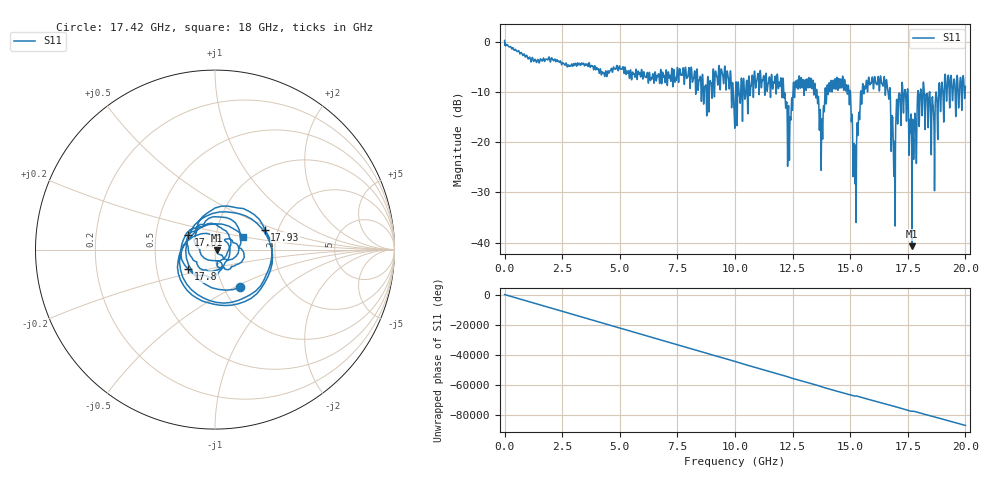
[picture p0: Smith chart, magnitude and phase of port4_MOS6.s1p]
! MS46122B
! 2250307/22442219
! 6/18/2025 7:53:03 AM
! C:\USERS\SPARKY\DOCUMENTS\VNA_DATA\JUNE18_2025\3.0K\PORT4_MOS6.S1P
! CHANNEL.1
! TR.MEASUREMENT
! RAW.DATA
# GHZ S RI R 50.0
! FREQ.GHZ  S11RE  S11IM
!; PortSelection: Port_1
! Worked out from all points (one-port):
!   10001 points, 1 MHz to 20 GHz, reference 50 ohm
!   lowest |S11| = -40.7 dB at 17.68 GHz (marker M1), VSWR 1.02, Z = 50.9 - j0.37 ohm
!   |S11| at or under -10 dB: 15.01 GHz to 15.45 GHz (443.5 MHz wide, 2.91 % of centre); 16.74 GHz to 17.23 GHz (494.2 MHz wide, 2.91 % of centre); 17.5 GHz to 17.93 GHz (432 MHz wide, 2.44 % of centre) (the widest 3 of 55)
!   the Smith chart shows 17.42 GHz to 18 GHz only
!   S11 on the Smith chart (normalised r, x): 17.42 GHz: 1.20, -0.54; 17.61 GHz: 0.73, +0.12; 17.8 GHz: 0.72, -0.16; 17.93 GHz: 1.70, +0.42; 18 GHz: 1.35, +0.20
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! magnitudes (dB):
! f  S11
! 1 MHz  0.2
! 2.501 GHz  -4.4
! 5.001 GHz  -5.0
! 7.501 GHz  -5.2
! 9.487 GHz  -7.4
! 10 GHz  -16.0
! 11.91 GHz  -8.2
! 12.35 GHz  -16.9
! 12.5 GHz  -13.0
! 13.3 GHz  -7.3
! 13.74 GHz  -24.8
! 14.09 GHz  -8.3
! 15 GHz  -9.7
! 15.2 GHz  -28.0
! 15.63 GHz  -8.9
! 16.64 GHz  -9.9
! 16.87 GHz  -20.3
! 17.08 GHz  -14.5
! 17.42 GHz  -11.9
! 17.5 GHz  -9.8
! 17.61 GHz  -15.4
! 17.68 GHz  -40.7
! 17.8 GHz  -14.7
! 17.93 GHz  -10.5
! 18 GHz  -15.2
! 18.59 GHz  -12.4
! 19.19 GHz  -11.8
! 20 GHz  -8.9
